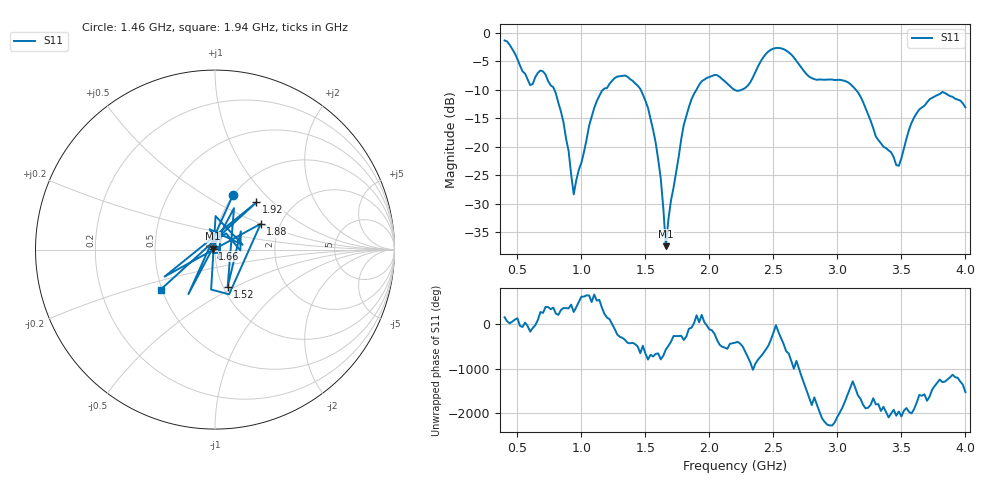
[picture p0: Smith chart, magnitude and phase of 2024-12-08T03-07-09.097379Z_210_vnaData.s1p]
!Created with skrf (http://scikit-rf.org).
# Hz S RI R 50.0
!freq ReS11 ImS11
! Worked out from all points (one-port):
!   181 points, 400 MHz to 4 GHz, reference 50 ohm
!   lowest |S11| = -37.4 dB at 1.66 GHz (marker M1), VSWR 1.03, Z = 48.8 + j0.521 ohm
!   |S11| at or under -10 dB: 788.9 MHz to 1.168 GHz (379.1 MHz wide, 38.7 % of centre); 1.464 GHz to 1.898 GHz (434.6 MHz wide, 25.9 % of centre); 3.145 GHz to end of sweep (the widest 3 of 4)
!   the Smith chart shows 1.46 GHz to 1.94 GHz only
!   S11 on the Smith chart (normalised r, x): 1.46 GHz: 0.99, +0.68; 1.52 GHz: 1.05, -0.46; 1.66 GHz: 0.98, +0.01; 1.88 GHz: 1.59, +0.50; 1.92 GHz: 1.33, +0.80; 1.94 GHz: 0.49, -0.26
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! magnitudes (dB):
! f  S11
! 400 MHz  -1.3
! 600 MHz  -9.2
! 720 MHz  -7.3
! 860 MHz  -15.7
! 940 MHz  -28.3
! 1.12 GHz  -12.0
! 1.3 GHz  -7.6
! 1.46 GHz  -9.8
! 1.52 GHz  -13.1
! 1.62 GHz  -25.6
! 1.66 GHz  -37.4
! 1.7 GHz  -29.4
! 1.76 GHz  -21.8
! 1.8 GHz  -16.1
! 1.88 GHz  -10.7
! 1.92 GHz  -9.1
! 1.94 GHz  -8.5
! 2.06 GHz  -7.4
! 2.2 GHz  -10.0
! 2.3 GHz  -9.2
! 2.48 GHz  -3.0
! 2.66 GHz  -4.3
! 2.8 GHz  -7.9
! 3.1 GHz  -8.9
! 3.46 GHz  -23.2
! 3.56 GHz  -17.0
! 3.82 GHz  -10.4
! 4 GHz  -13.1
